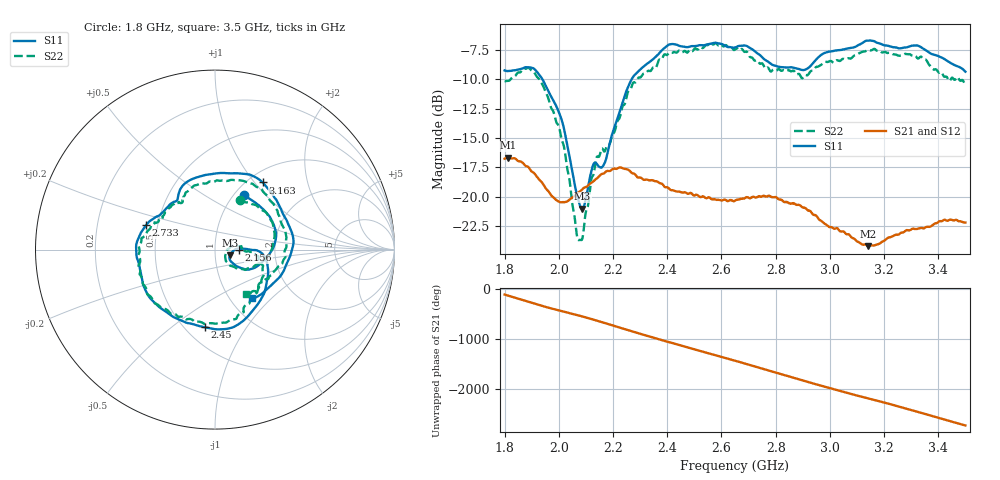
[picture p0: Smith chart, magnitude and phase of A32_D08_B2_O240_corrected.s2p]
! Created with skrf 1.9.0 (http://scikit-rf.org).
# Hz S RI R 50.0
!freq ReS11 ImS11 ReS21 ImS21 ReS12 ImS12 ReS22 ImS22
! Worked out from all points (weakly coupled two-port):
!   1601 points, 1.8 GHz to 3.5 GHz, reference 50 ohm
!   highest |S21| = -16.68 dB at 1.812 GHz (marker M1); lowest = -24.2 dB at 3.142 GHz (marker M2)
!   lowest |S11| = -21.0 dB at 2.087 GHz (marker M3), VSWR 1.20, Z = 59 - j3.73 ohm
!   |S11| at or under -10 dB: 1.939 GHz to 2.269 GHz (329.6 MHz wide, 15.7 % of centre)
!   |S22| runs from -23.7 to -6.9 dB; largest |S21 - S12| = 0.0028
!   S11 on the Smith chart (normalised r, x): 1.8 GHz: 1.11, +0.77; 2.156 GHz: 1.31, -0.01; 2.45 GHz: 0.62, -0.67; 2.733 GHz: 0.43, +0.14; 3.163 GHz: 1.16, +1.10; 3.5 GHz: 1.26, -0.77
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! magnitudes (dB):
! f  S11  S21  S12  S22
! 1.8 GHz  -9.3  -16.8  -16.8  -10.2
! 1.812 GHz  -9.3  -16.7  -16.7  -10.1
! 1.887 GHz  -9.0  -17.5  -17.5  -9.0
! 1.943 GHz  -10.2  -19.0  -19.0  -10.6
! 2.01 GHz  -13.4  -20.5  -20.4  -15.1
! 2.067 GHz  -19.8  -19.7  -19.7  -23.3
! 2.084 GHz  -21.0  -19.4  -19.4  -23.7
! 2.087 GHz  -21.0  -19.4  -19.4  -23.5
! 2.127 GHz  -17.3  -18.7  -18.7  -18.1
! 2.156 GHz  -17.5  -18.1  -18.1  -16.0
! 2.191 GHz  -15.2  -17.8  -17.8  -15.3
! 2.265 GHz  -10.2  -17.9  -17.9  -10.8
! 2.367 GHz  -7.9  -18.8  -18.7  -8.4
! 2.45 GHz  -7.2  -19.6  -19.6  -7.7
! 2.65 GHz  -7.3  -20.3  -20.3  -7.5
! 2.733 GHz  -7.8  -20.0  -20.0  -8.4
! 2.934 GHz  -8.7  -21.4  -21.4  -9.3
! 3.142 GHz  -6.7  -24.2  -24.1  -7.5
! 3.163 GHz  -6.8  -24.1  -24.1  -7.4
! 3.217 GHz  -7.2  -23.5  -23.4  -7.8
! 3.327 GHz  -7.2  -22.7  -22.7  -8.2
! 3.5 GHz  -9.4  -22.2  -22.2  -10.4
